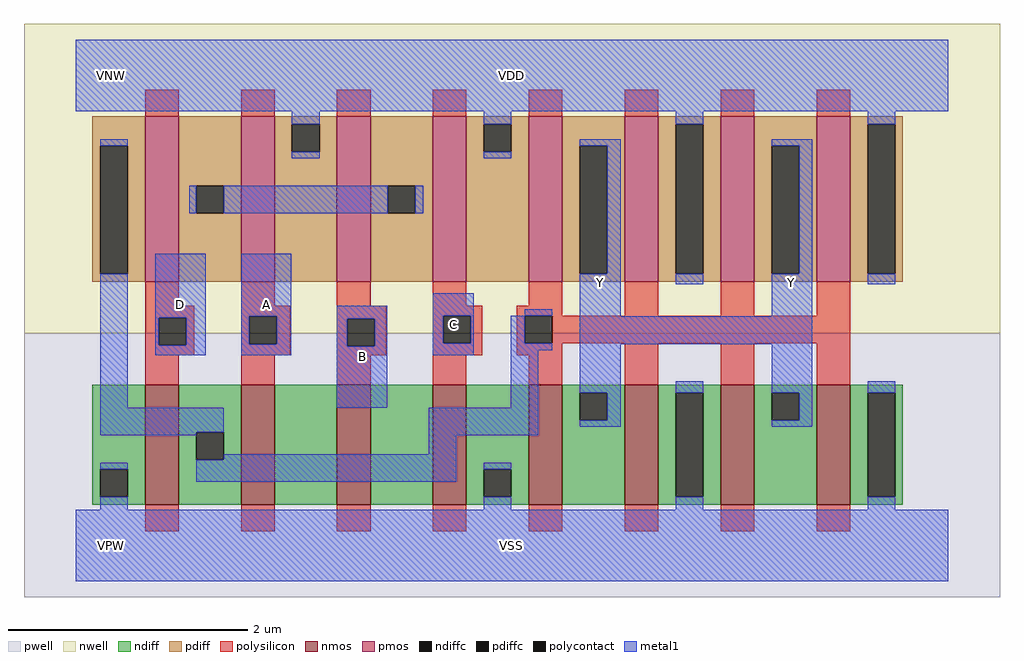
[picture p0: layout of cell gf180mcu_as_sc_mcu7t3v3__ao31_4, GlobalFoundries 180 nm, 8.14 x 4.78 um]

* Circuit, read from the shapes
.subckt gf180mcu_as_sc_mcu7t3v3__ao31_4 VDD VNW VPW VSS D A B C Y
XM1 n1 D VSS VPW nfet_03v3 w=1u l=0.28u
XM2 n2 A n1 VPW nfet_03v3 w=1u l=0.28u
XM3 n3 B n2 VPW nfet_03v3 w=1u l=0.28u
XM4 VSS C n3 VPW nfet_03v3 w=1u l=0.28u
XM5 Y n1 VSS VPW nfet_03v3 w=1u l=0.28u m=4
XM6 n4 D n1 VNW pfet_03v3 w=1.38u l=0.28u
XM7 VDD A n4 VNW pfet_03v3 w=1.38u l=0.28u
XM8 n4 B VDD VNW pfet_03v3 w=1.38u l=0.28u
XM9 VDD C n4 VNW pfet_03v3 w=1.38u l=0.28u
XM10 Y n1 VDD VNW pfet_03v3 w=1.38u l=0.28u m=4
.ends

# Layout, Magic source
magic
tech gf180mcuD
magscale 1 10
<< nwell >>
rect -86 354 1542 870
<< pwell >>
rect -86 -86 1542 354
<< nmos >>
rect 116 68 172 268
rect 276 68 332 268
rect 436 68 492 268
rect 596 68 652 268
rect 756 68 812 268
rect 916 68 972 268
rect 1076 68 1132 268
rect 1236 68 1292 268
<< pmos >>
rect 116 440 172 716
rect 276 440 332 716
rect 436 440 492 716
rect 596 440 652 716
rect 756 440 812 716
rect 916 440 972 716
rect 1076 440 1132 716
rect 1236 440 1292 716
<< ndiff >>
rect 28 127 116 268
rect 28 81 41 127
rect 87 81 116 127
rect 28 68 116 81
rect 172 189 276 268
rect 172 143 201 189
rect 247 143 276 189
rect 172 68 276 143
rect 332 68 436 268
rect 492 68 596 268
rect 652 127 756 268
rect 652 81 681 127
rect 727 81 756 127
rect 652 68 756 81
rect 812 255 916 268
rect 812 209 841 255
rect 887 209 916 255
rect 812 68 916 209
rect 972 255 1076 268
rect 972 81 1001 255
rect 1047 81 1076 255
rect 972 68 1076 81
rect 1132 255 1236 268
rect 1132 209 1161 255
rect 1207 209 1236 255
rect 1132 68 1236 209
rect 1292 255 1380 268
rect 1292 81 1321 255
rect 1367 81 1380 255
rect 1292 68 1380 81
<< pdiff >>
rect 28 667 116 716
rect 28 453 41 667
rect 87 453 116 667
rect 28 440 116 453
rect 172 600 276 716
rect 172 554 201 600
rect 247 554 276 600
rect 172 440 276 554
rect 332 703 436 716
rect 332 657 361 703
rect 407 657 436 703
rect 332 440 436 657
rect 492 600 596 716
rect 492 554 521 600
rect 567 554 596 600
rect 492 440 596 554
rect 652 703 756 716
rect 652 657 681 703
rect 727 657 756 703
rect 652 440 756 657
rect 812 667 916 716
rect 812 453 841 667
rect 887 453 916 667
rect 812 440 916 453
rect 972 703 1076 716
rect 972 453 1001 703
rect 1047 453 1076 703
rect 972 440 1076 453
rect 1132 667 1236 716
rect 1132 453 1161 667
rect 1207 453 1236 667
rect 1132 440 1236 453
rect 1292 703 1380 716
rect 1292 453 1321 703
rect 1367 453 1380 703
rect 1292 440 1380 453
<< ndiffc >>
rect 41 81 87 127
rect 201 143 247 189
rect 681 81 727 127
rect 841 209 887 255
rect 1001 81 1047 255
rect 1161 209 1207 255
rect 1321 81 1367 255
<< pdiffc >>
rect 41 453 87 667
rect 201 554 247 600
rect 361 657 407 703
rect 521 554 567 600
rect 681 657 727 703
rect 841 453 887 667
rect 1001 453 1047 703
rect 1161 453 1207 667
rect 1321 453 1367 703
<< polysilicon >>
rect 116 716 172 760
rect 276 716 332 760
rect 436 716 492 760
rect 596 716 652 760
rect 756 716 812 760
rect 916 716 972 760
rect 1076 716 1132 760
rect 1236 716 1292 760
rect 116 400 172 440
rect 276 400 332 440
rect 436 400 492 440
rect 596 400 652 440
rect 756 400 812 440
rect 116 380 198 400
rect 116 334 139 380
rect 185 334 198 380
rect 116 317 198 334
rect 276 382 358 400
rect 276 336 290 382
rect 336 336 358 382
rect 276 317 358 336
rect 436 378 518 400
rect 436 332 453 378
rect 499 332 518 378
rect 436 317 518 332
rect 596 383 678 400
rect 596 337 613 383
rect 659 337 678 383
rect 596 317 678 337
rect 736 383 812 400
rect 916 383 972 440
rect 1076 383 1132 440
rect 1236 383 1292 440
rect 736 337 749 383
rect 795 337 1292 383
rect 736 317 812 337
rect 116 268 172 317
rect 276 268 332 317
rect 436 268 492 317
rect 596 268 652 317
rect 756 268 812 317
rect 916 268 972 337
rect 1076 268 1132 337
rect 1236 268 1292 337
rect 116 24 172 68
rect 276 24 332 68
rect 436 24 492 68
rect 596 24 652 68
rect 756 24 812 68
rect 916 24 972 68
rect 1076 24 1132 68
rect 1236 24 1292 68
<< polycontact >>
rect 139 334 185 380
rect 290 336 336 382
rect 453 332 499 378
rect 613 337 659 383
rect 749 337 795 383
<< metal1 >>
rect 0 724 1456 844
rect 361 703 407 724
rect 41 667 87 678
rect 361 646 407 657
rect 681 703 727 724
rect 1001 703 1047 724
rect 681 646 727 657
rect 841 667 909 678
rect 190 554 201 600
rect 247 554 521 600
rect 567 554 580 600
rect 41 230 87 453
rect 133 380 217 487
rect 133 334 139 380
rect 185 334 217 380
rect 133 317 217 334
rect 276 382 360 487
rect 887 453 909 667
rect 276 336 290 382
rect 336 336 360 382
rect 276 317 360 336
rect 436 378 520 400
rect 436 332 453 378
rect 499 332 520 378
rect 436 230 520 332
rect 596 383 664 421
rect 749 383 795 394
rect 596 337 613 383
rect 659 337 664 383
rect 596 317 664 337
rect 726 337 749 383
rect 726 326 795 337
rect 841 382 909 453
rect 1321 703 1367 724
rect 1001 436 1047 453
rect 1161 667 1229 678
rect 1207 453 1229 667
rect 1161 382 1229 453
rect 1321 436 1367 453
rect 841 336 1229 382
rect 726 230 772 326
rect 41 189 247 230
rect 41 184 201 189
rect 589 184 772 230
rect 841 255 909 336
rect 887 209 909 255
rect 841 198 909 209
rect 1001 255 1047 274
rect 589 152 635 184
rect 247 143 635 152
rect 41 127 87 138
rect 201 106 635 143
rect 681 127 727 138
rect 41 60 87 81
rect 681 60 727 81
rect 1161 255 1229 336
rect 1207 209 1229 255
rect 1161 198 1229 209
rect 1321 255 1367 274
rect 1001 60 1047 81
rect 1321 60 1367 81
rect 0 -60 1456 60
<< labels >>
flabel metal1 s 0 724 1456 844 0 FreeSans 400 0 0 0 VDD
port 1 nsew power bidirectional abutment
flabel metal1 s 0 -60 1456 60 0 FreeSans 400 0 0 0 VSS
port 4 nsew ground bidirectional abutment
flabel nwell s 10 734 110 834 0 FreeSans 400 0 0 0 VNW
port 2 nsew power bidirectional
flabel pwell s 10 -50 110 50 0 FreeSans 400 0 0 0 VPW
port 3 nsew ground bidirectional
flabel metal1 133 317 217 487 0 FreeSans 200 0 0 0 D
port 5 nsew signal input
flabel metal1 276 317 360 487 0 FreeSans 200 0 0 0 A
port 6 nsew signal input
flabel metal1 436 230 520 400 0 FreeSans 200 0 0 0 B
port 7 nsew signal input
flabel metal1 596 317 664 421 0 FreeSans 200 0 0 0 C
port 8 nsew signal input
flabel metal1 841 198 909 678 0 FreeSans 200 0 0 0 Y
port 9 nsew signal output
flabel metal1 1161 198 1229 678 0 FreeSans 200 0 0 0 Y
port 9 nsew signal output
<< properties >>
string FIXED_BBOX 0 0 1456 784
string LEFclass CORE
string LEFsite unithd
string LEFsymmetry X Y
string MASKHINTS_NPLUS -16 -46 1472 354
string MASKHINTS_PPLUS -16 354 1472 830
<< end >>
